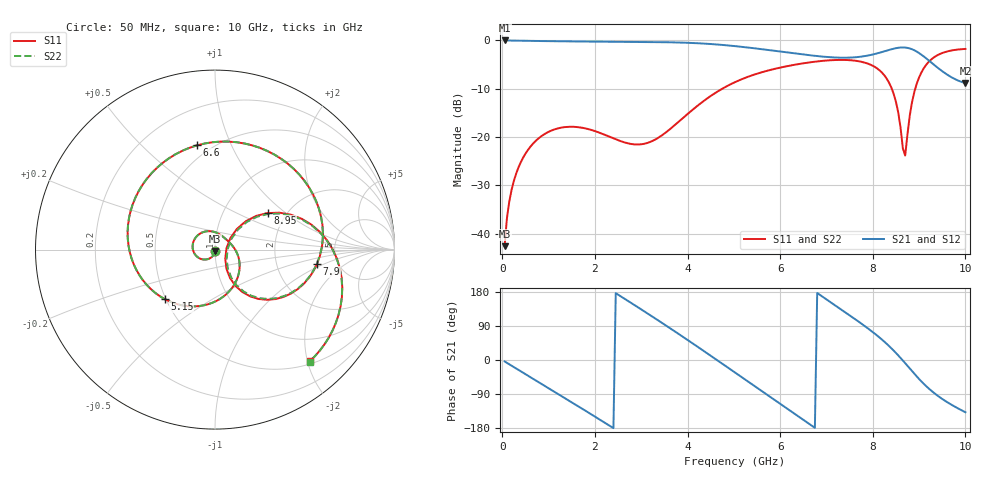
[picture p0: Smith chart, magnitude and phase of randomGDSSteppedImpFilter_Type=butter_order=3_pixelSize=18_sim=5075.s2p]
! freq	dB(S11)	phase(S11)	dB(S12)	phase(S12)
!  dB(S21)	phase(S21)	dB(S22)	phase(S22)
!S-par simulation data
#  GHz  S  DB  R 50
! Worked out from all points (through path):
!   200 points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, 50 MHz to 10 GHz, reference 50 ohm
!   highest |S21| = -0.01 dB at 50 MHz (marker M1); lowest = -8.8 dB at 10 GHz (marker M2)
!   group delay of S21, straight-line fit = 238 ps
!   lowest |S11| = -42.6 dB at 50 MHz (marker M3), VSWR 1.01, Z = 50 - j0.744 ohm
!   |S11| at or under -10 dB: start of sweep to 4.749 GHz; 8.41 GHz to 8.917 GHz (507 MHz wide, 5.85 % of centre)
!   |S22| runs from -42.6 to -1.8 dB; largest |S21 - S12| = 0
!   S11 on the Smith chart (normalised r, x): 50 MHz: 1.00, -0.01; 5.15 GHz: 0.49, -0.32; 6.6 GHz: 0.42, +0.75; 7.9 GHz: 3.48, -0.83; 8.95 GHz: 1.61, +0.75; 10 GHz: 0.55, -2.04
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0.05  -42.57 -91.0  -0.01 -3.8  -0.01 -3.8  -42.57 -91.0
0.2  -30.94 -104.1  -0.03 -15.0  -0.03 -15.0  -30.94 -104.1
0.55  -22.71 -131.3  -0.08 -41.1  -0.08 -41.1  -22.71 -131.4
1.15  -18.34 -176.3  -0.17 -85.7  -0.17 -85.7  -18.34 -176.3
1.75  -18.11 139.0  -0.23 -130.4  -0.23 -130.4  -18.11 138.8
2.55  -20.82 78.5  -0.27 168.6  -0.27 168.6  -20.82 78.1
3.4  -19.94 11.4  -0.35 101.8  -0.35 101.8  -19.94 10.9
3.85  -16.48 -25.4  -0.44 65.3  -0.44 65.3  -16.47 -25.7
4.3  -12.88 -63.0  -0.62 28.1  -0.62 28.1  -12.88 -63.2
4.65  -10.57 -92.7  -0.85 -1.3  -0.85 -1.3  -10.56 -92.8
5.05  -8.52 -127.0  -1.20 -35.1  -1.20 -35.1  -8.52 -126.9
5.15  -8.11 -135.6  -1.30 -43.6  -1.30 -43.6  -8.10 -135.5
5.8  -6.08 168.4  -2.05 -98.6  -2.05 -98.6  -6.07 168.6
6.6  -4.59 99.7  -3.02 -166.3  -3.02 -166.3  -4.59 100.1
6.7  -4.46 91.3  -3.13 -174.8  -3.13 -174.8  -4.46 91.6
7.4  -4.04 33.3  -3.58 126.4  -3.58 126.4  -4.04 33.8
7.9  -4.82 -8.1  -3.12 83.0  -3.12 83.0  -4.82 -7.5
8.35  -8.71 -48.6  -1.97 37.1  -1.97 37.1  -8.70 -47.4
8.7  -23.81 6.7  -1.48 -8.5  -1.48 -8.5  -22.86 5.1
8.95  -8.94 34.8  -2.31 -43.6  -2.31 -43.6  -8.91 33.7
9.4  -3.04 -8.7  -5.64 -94.2  -5.64 -94.2  -3.03 -9.1
10  -1.76 -49.7  -8.81 -137.9  -8.81 -137.9  -1.76 -49.8
